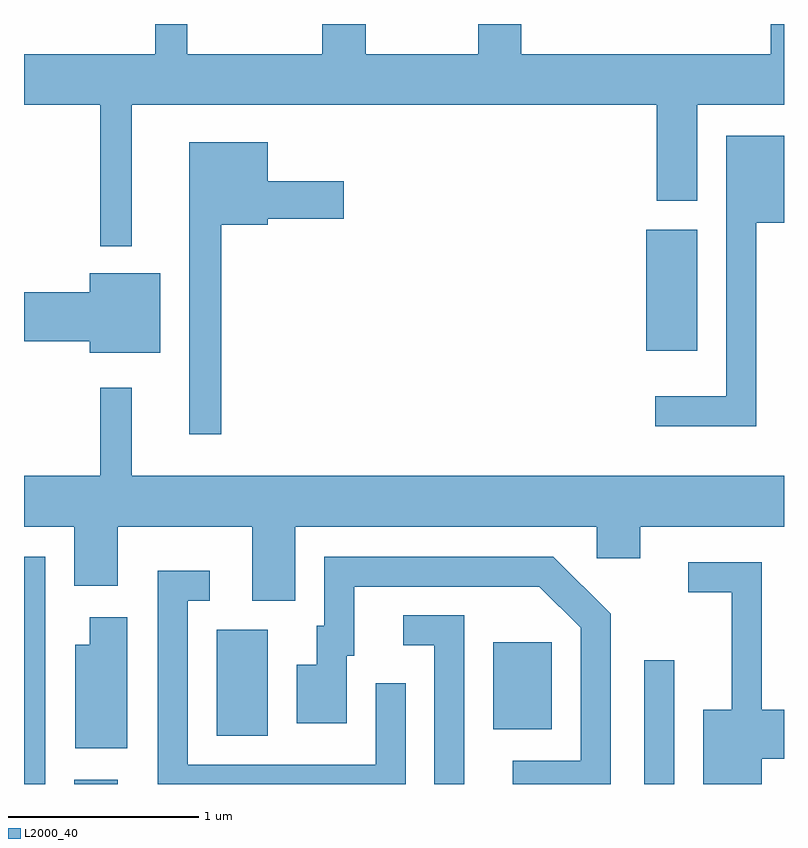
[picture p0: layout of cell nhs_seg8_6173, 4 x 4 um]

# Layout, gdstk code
import gdstk
lib = gdstk.Library(unit=1e-6, precision=1e-09)
def R(c, l, rs):  # rectangles x0, y0, x1, y1
    for r in rs: c.add(gdstk.rectangle(r[:2], r[2:], *l))
def P(c, l, *ps):  # polygons
    for p in ps: c.add(gdstk.Polygon(p, *l))
L2000_40 = (2000, 40)

nhs_seg8_6173 = lib.new_cell('nhs_seg8_6173')
R(nhs_seg8_6173, L2000_40, [(369.611,1888.342,369.724,1889.539), (369.876,1888.342,370.104,1888.364), (372.876,1888.342,373.034,1888.993), (370.626,1888.596,370.894,1889.154), (372.081,1888.631,372.389,1889.089), (372.886,1890.621,373.154,1891.259)])
P(nhs_seg8_6173, L2000_40, [(370.179,1891.916),(372.941,1891.916),(372.941,1891.411),(373.154,1891.411),(373.154,1891.916),(373.611,1891.916),(373.611,1892.342),(373.541,1892.342),(373.541,1892.184),(372.229,1892.184),(372.229,1892.342),(372.001,1892.342),(372.001,1892.184),(371.409,1892.184),(371.409,1892.342),(371.181,1892.342),(371.181,1892.184),(370.469,1892.184),(370.469,1892.342),(370.301,1892.342),(370.301,1892.184),(369.611,1892.184),(369.611,1891.916),(370.011,1891.916),(370.011,1891.173),(370.179,1891.173)],
  [(373.464,1891.296),(373.611,1891.296),(373.611,1891.754),(373.306,1891.754),(373.306,1890.384),(372.933,1890.384),(372.933,1890.226),(373.464,1890.226)],
  [(370.649,1891.286),(370.894,1891.286),(370.894,1891.316),(371.294,1891.316),(371.294,1891.514),(370.894,1891.514),(370.894,1891.719),(370.481,1891.719),(370.481,1890.183),(370.649,1890.183)],
  [(370.329,1891.029),(369.956,1891.029),(369.956,1890.929),(369.611,1890.929),(369.611,1890.671),(369.956,1890.671),(369.956,1890.611),(370.329,1890.611)],
  [(371.039,1889.696),(372.626,1889.696),(372.626,1889.531),(372.854,1889.531),(372.854,1889.696),(373.611,1889.696),(373.611,1889.964),(370.179,1889.964),(370.179,1890.428),(370.011,1890.428),(370.011,1889.964),(369.611,1889.964),(369.611,1889.696),(369.876,1889.696),(369.876,1889.386),(370.104,1889.386),(370.104,1889.696),(370.811,1889.696),(370.811,1889.306),(371.039,1889.306)],
  [(372.699,1889.237),(372.397,1889.539),(371.191,1889.539),(371.191,1889.174),(371.151,1889.174),(371.151,1888.969),(371.046,1888.969),(371.046,1888.661),(371.309,1888.661),(371.309,1889.016),(371.349,1889.016),(371.349,1889.381),(372.324,1889.381),(372.541,1889.164),(372.541,1888.464),(372.183,1888.464),(372.183,1888.342),(372.699,1888.342)],
  [(373.494,1888.476),(373.611,1888.476),(373.611,1888.734),(373.494,1888.734),(373.494,1889.509),(373.108,1889.509),(373.108,1889.351),(373.336,1889.351),(373.336,1888.734),(373.186,1888.734),(373.186,1888.342),(373.494,1888.342)],
  [(371.619,1888.873),(371.461,1888.873),(371.461,1888.444),(370.474,1888.444),(370.474,1889.306),(370.588,1889.306),(370.588,1889.464),(370.316,1889.464),(370.316,1888.342),(371.619,1888.342)],
  [(371.929,1889.229),(371.608,1889.229),(371.608,1889.071),(371.771,1889.071),(371.771,1888.342),(371.929,1888.342)],
  [(370.154,1889.219),(369.956,1889.219),(369.956,1889.074),(369.881,1889.074),(369.881,1888.531),(370.154,1888.531)])

lib.write_gds('nhs_seg8_6173.gds')
